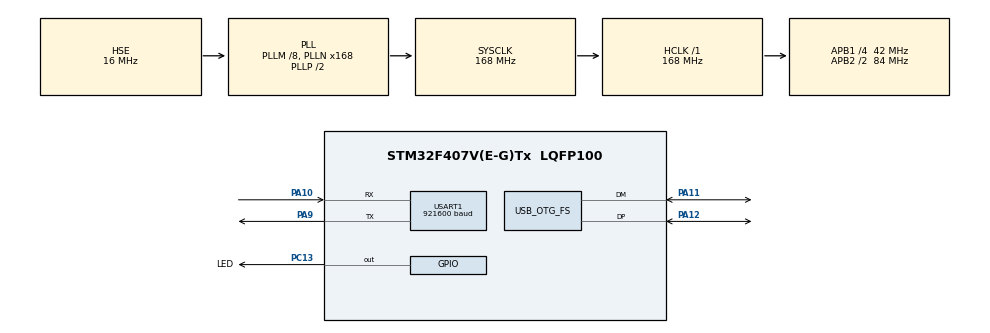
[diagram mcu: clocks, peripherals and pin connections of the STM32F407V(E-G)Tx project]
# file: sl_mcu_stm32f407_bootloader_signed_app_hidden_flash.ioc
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Mcu.Family=STM32F4
Mcu.Name=STM32F407V(E-G)Tx
Mcu.Package=LQFP100
NVIC.OTG_FS_IRQn=true\:0\:0\:false\:false\:true\:true\:true\:true
NVIC.PriorityGroup=NVIC_PRIORITYGROUP_4
PA10.Mode=Asynchronous
PA10.Signal=USART1_RX
PA11.Mode=Device_Only
PA11.Signal=USB_OTG_FS_DM
PA12.Mode=Device_Only
PA12.Signal=USB_OTG_FS_DP
PA13.Mode=Trace_Asynchronous_SW
PA13.Signal=SYS_JTMS-SWDIO
PA14.Mode=Trace_Asynchronous_SW
PA14.Signal=SYS_JTCK-SWCLK
PA9.Mode=Asynchronous
PA9.Signal=USART1_TX
PB3.Mode=Trace_Asynchronous_SW
PB3.Signal=SYS_JTDO-SWO
PC13-ANTI_TAMP.GPIO_Label=LED
PC13-ANTI_TAMP.GPIO_ModeDefaultOutputPP=GPIO_MODE_OUTPUT_OD
PC13-ANTI_TAMP.GPIO_PuPd=GPIO_NOPULL
PC13-ANTI_TAMP.PinState=GPIO_PIN_SET
PC13-ANTI_TAMP.Signal=GPIO_Output
PH0-OSC_IN.Mode=HSE-External-Oscillator
PH0-OSC_IN.Signal=RCC_OSC_IN
PH1-OSC_OUT.Mode=HSE-External-Oscillator
PH1-OSC_OUT.Signal=RCC_OSC_OUT
ProjectManager.HeapSize=0x200
ProjectManager.StackSize=0x400
ProjectManager.TargetToolchain=STM32CubeIDE
RCC.48MHZClocksFreq_Value=48000000
RCC.AHBFreq_Value=168000000
RCC.APB1CLKDivider=RCC_HCLK_DIV4
RCC.APB1Freq_Value=42000000
RCC.APB1TimFreq_Value=84000000
RCC.APB2CLKDivider=RCC_HCLK_DIV2
RCC.APB2Freq_Value=84000000
RCC.APB2TimFreq_Value=168000000
RCC.CortexFreq_Value=168000000
RCC.HCLKFreq_Value=168000000
RCC.HSE_VALUE=16000000
RCC.HSI_VALUE=16000000
RCC.LSE_VALUE=32768
RCC.PLLM=8
RCC.PLLN=168
RCC.PLLQ=7
RCC.SYSCLKFreq_VALUE=168000000
RCC.SYSCLKSource=RCC_SYSCLKSOURCE_PLLCLK
RCC.VCOOutputFreq_Value=336000000
USART1.BaudRate=921600
USART1.OverSampling=UART_OVERSAMPLING_8
USART1.VirtualMode=VM_ASYNC
USB_OTG_FS.VirtualMode=Device_Only
VP_MBEDTLS_VS_MBEDTLS.Mode=Enabled
board=custom

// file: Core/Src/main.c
/* USER CODE BEGIN Header */
/**
 ******************************************************************************
 * @file           : main.c
 * @brief          : Main program body
 ******************************************************************************
 * @attention
 *
 * Copyright (c) 2026 STM32World <lth@stm32world.com>
 * All rights reserved.
 *
 * This software is licensed under terms that can be found in the LICENSE file
 * in the root directory of this software component.
 * If no LICENSE file comes with this software, it is provided AS-IS.
 *
 ******************************************************************************
 */
/* USER CODE END Header */
#include "main.h"
#include "mbedtls.h"

/* USER CODE BEGIN Includes */
#include <stdio.h>
#include <string.h>
#include <stdbool.h>
#include "tusb.h"

#include "mbedtls/md.h"
#include "mbedtls/pk.h"
#include "mbedtls/bignum.h"
#include "mbedtls/asn1write.h"
/* USER CODE END Includes */

/* USER CODE BEGIN PTD */

typedef struct {
    uint32_t magic;          // 4 bytes: Magic identifier (e.g. 0x4150504B / "KAPP")
    uint32_t payload_len;    // 4 bytes: Size of binary firmware in bytes
    uint8_t signature[64];  // 64 bytes: ECDSA raw signature (32-byte R + 32-byte S)
    uint8_t reserved[56];   // 56 bytes: Zero padding to align header to 128 bytes
} Header128_t;

/* USER CODE END PTD */

/* USER CODE BEGIN PD */
#define DFU_BOOT_FLAG 0xDEADBEEF
#define FIRMWARE_MAGIC 0x4150504B
#define STAGING_ADDRESS 0x08080000              // Hidden flash, sectors 8-11
#define STAGING_SIZE (512 * 1024)
#define STAGING_SECTOR_SIZE (128 * 1024)
#define APP_MAX_SIZE (480 * 1024)               // Sectors 2-7
#define ERASE_TIMEOUT_MS 2000                   // Max 128 kB sector erase time (RM0090)
/* USER CODE END PD */

UART_HandleTypeDef huart1;

PCD_HandleTypeDef hpcd_USB_OTG_FS;

/* USER CODE BEGIN PV */

extern int _bflag;
volatile static uint32_t *dfu_boot_flag;

static uint32_t dfu_bytes_received = 0;
static uint32_t last_erased_sector = 0xFFFFFFFF;

static uint8_t do_boot = 0;

static const char *PUBLIC_KEY_PEM =
        "-----BEGIN PUBLIC KEY-----\n"
                "MFkwEwYHKoZIzj0CAQYIKoZIzj0DAQcDQgAE/TvaaBFk8lA2UK6vEFBSNEIluTsx\n"
                "vgLjSyEFtuQmGuPXHu4Qaa7d4DkQgQ1cXTG1jOtfXUym4S4ddeaSyJtTGg==\n"
                "-----END PUBLIC KEY-----\n";
/* USER CODE END PV */

void SystemClock_Config(void);
static void MX_GPIO_Init(void);
static void MX_USART1_UART_Init(void);
static void MX_USB_OTG_FS_PCD_Init(void);
/* USER CODE BEGIN PFP */
bool verify_flash_firmware_stream(uint32_t flash_payload_addr, size_t payload_len, const uint8_t *raw_sig);
/* USER CODE END PFP */

/* USER CODE BEGIN 0 */

// Send printf to uart1
int __io_putchar(int ch) {
    if (ch == '\n') {
        HAL_UART_Transmit(&huart1, (uint8_t*) "\r", 1, HAL_MAX_DELAY);
    }
    if (HAL_UART_Transmit(&huart1, (uint8_t*) &ch, 1, HAL_MAX_DELAY) != HAL_OK) {
        return -1;
    }
    return ch;
}

/**
 * @brief Convert raw 64-byte (32-byte R + 32-byte S) ECDSA signature to ASN.1 DER format
 */
static size_t raw_sig_to_der(const uint8_t *raw_sig, uint8_t *der_buf, size_t der_buf_size) {
    int ret = 0;
    unsigned char *p = der_buf + der_buf_size;
    size_t len = 0;

    mbedtls_mpi r, s;
    mbedtls_mpi_init(&r);
    mbedtls_mpi_init(&s);

    if (mbedtls_mpi_read_binary(&r, raw_sig, 32) == 0 &&
            mbedtls_mpi_read_binary(&s, raw_sig + 32, 32) == 0) {

        MBEDTLS_ASN1_CHK_ADD(len, mbedtls_asn1_write_mpi(&p, der_buf, &s));
        MBEDTLS_ASN1_CHK_ADD(len, mbedtls_asn1_write_mpi(&p, der_buf, &r));
        MBEDTLS_ASN1_CHK_ADD(len, mbedtls_asn1_write_len(&p, der_buf, len));
        MBEDTLS_ASN1_CHK_ADD(len, mbedtls_asn1_write_tag(&p, der_buf, MBEDTLS_ASN1_CONSTRUCTED | MBEDTLS_ASN1_SEQUENCE));

        memmove(der_buf, p, len);
    } else {
        ret = -1;
    }

    mbedtls_mpi_free(&r);
    mbedtls_mpi_free(&s);

    return (ret < 0) ? 0 : len;
}

/**
 * @brief Streams firmware payload from flash through SHA-256 and verifies ECDSA signature
 */
bool verify_flash_firmware_stream(uint32_t flash_payload_addr, size_t payload_len, const uint8_t *raw_sig) {
    uint8_t hash[32];
    uint8_t der_sig[80];

    size_t der_len = raw_sig_to_der(raw_sig, der_sig, sizeof(der_sig));
    if (der_len == 0) {
        printf("[VERIFY] Failed to format signature to ASN.1 DER\n");
        return false;
    }

    mbedtls_md_context_t md_ctx;
    mbedtls_pk_context pk_ctx;

    mbedtls_md_init(&md_ctx);
    mbedtls_pk_init(&pk_ctx);

    int ret = -1;

    do {
        const mbedtls_md_info_t *md_info = mbedtls_md_info_from_type(MBEDTLS_MD_SHA256);
        if ((ret = mbedtls_md_setup(&md_ctx, md_info, 0)) != 0)
            break;
        if ((ret = mbedtls_md_starts(&md_ctx)) != 0)
            break;

        // Staging area is memory mapped - hash it in place
        if ((ret = mbedtls_md_update(&md_ctx, (const uint8_t*) flash_payload_addr, payload_len)) != 0)
            break;

        if ((ret = mbedtls_md_finish(&md_ctx, hash)) != 0)
            break;

        ret = mbedtls_pk_parse_public_key(&pk_ctx, (const uint8_t*) PUBLIC_KEY_PEM, strlen(PUBLIC_KEY_PEM) + 1);
        if (ret != 0) {
            printf("[VERIFY] Public key parse failed: -0x%04X\n", -ret);
            break;
        }

        ret = mbedtls_pk_verify(&pk_ctx, MBEDTLS_MD_SHA256, hash, sizeof(hash), der_sig, der_len);
    } while (0);

    mbedtls_md_free(&md_ctx);
    mbedtls_pk_free(&pk_ctx);

    if (ret == 0) {
        return true;
    } else {
        printf("[VERIFY] Verification failed! Error code: -0x%04X\n", -ret);
        return false;
    }
}

//--------------------------------------------------------------------+
// DFU Callbacks
//--------------------------------------------------------------------+

/**
 * @brief Erase one 128 kB staging sector (8-11). Stalls the CPU for 1-2 s.
 */
static bool erase_staging_sector(uint32_t sector) {
    FLASH_EraseInitTypeDef EraseInitStruct;
    uint32_t SectorError = 0;

    EraseInitStruct.TypeErase = FLASH_TYPEERASE_SECTORS;
    EraseInitStruct.VoltageRange = FLASH_VOLTAGE_RANGE_3;
    EraseInitStruct.Sector = sector;
    EraseInitStruct.NbSectors = 1;

    return HAL_FLASHEx_Erase(&EraseInitStruct, &SectorError) == HAL_OK;
}

void tud_dfu_download_cb(uint8_t alt, uint16_t block_num, uint8_t const *data, uint16_t length) {
    (void) alt;

    uint32_t offset = block_num * CFG_TUD_DFU_XFER_BUFSIZE;

    if (block_num == 0) {
        dfu_bytes_received = 0;
        last_erased_sector = 0xFFFFFFFF;
        printf("\n[DFU] Download started...\n");
    }

    if (length == 0) {
        tud_dfu_finish_flashing(DFU_STATUS_OK);
        return;
    }

    if (offset + length > STAGING_SIZE) {
        printf("[DFU] Image too big for staging area!\n");
        tud_dfu_finish_flashing(DFU_STATUS_ERR_ADDRESS);
        return;
    }

    HAL_FLASH_Unlock();

    // Erase the staging sector when the write first enters it
    uint32_t sector = FLASH_SECTOR_8 + offset / STAGING_SECTOR_SIZE;
    if (sector != last_erased_sector) {
        printf("[DFU] Erasing sector %lu...\n", sector);
        if (!erase_staging_sector(sector)) {
            HAL_FLASH_Lock();
            tud_dfu_finish_flashing(DFU_STATUS_ERR_ERASE);
            return;
        }
        last_erased_sector = sector;
    }

    // Program word by word, padding a trailing partial word with 0xFF
    uint32_t addr = STAGING_ADDRESS + offset;
    for (uint32_t i = 0; i < length; i += 4) {
        uint32_t word = 0xFFFFFFFF;
        memcpy(&word, data + i, (length - i < 4) ? (length - i) : 4);
        if (HAL_FLASH_Program(FLASH_TYPEPROGRAM_WORD, addr + i, word) != HAL_OK) {
            printf("[DFU] Programming failed at 0x%08lX!\n", addr + i);
            HAL_FLASH_Lock();
            tud_dfu_finish_flashing(DFU_STATUS_ERR_PROG);
            return;
        }
    }

    HAL_FLASH_Lock();

    dfu_bytes_received += length;
    printf("[DFU] Block %u written (%u bytes) at 0x%08lX\n", block_num, length, addr);

    tud_dfu_finish_flashing(DFU_STATUS_OK);
}

void tud_dfu_get_status_cb(uint8_t alt, uint8_t *status) {
    (void) alt;
    status[0] = DFU_STATUS_OK;
    status[1] = 0;
    status[2] = 0;
    status[3] = 0;
    status[4] = DFU_DNLOAD_IDLE;
    status[5] = 0;
}

uint32_t tud_dfu_get_timeout_cb(uint8_t alt, uint8_t state) {
    (void) alt;
    if (state == DFU_DNBUSY) {
        // Next block starts a new staging sector - give the host time for the erase
        return (dfu_bytes_received % STAGING_SECTOR_SIZE == 0) ? ERASE_TIMEOUT_MS : 10;
    }
    return 0;
}

void tud_dfu_manifest_cb(uint8_t alt) {
    (void) alt;
    printf("[DFU] Download complete! Total received: %lu bytes.\n", dfu_bytes_received);

    const Header128_t *header = (const Header128_t*) STAGING_ADDRESS;

    char magic_str[5] = { 0 };
    memcpy(magic_str, &header->magic, 4);

    printf("\n================ Header Info ================\n");
    printf("Magic Raw          : 0x%08lX\n", header->magic);
    printf("Magic ASCII        : %s\n", magic_str);
    printf("Payload Size       : %lu bytes\n", header->payload_len);

    printf("Signature (R)      : ");
    for (int i = 0; i < 32; i++) {
        printf("%02X", header->signature[i]);
    }
    printf("\n");

    printf("Signature (S)      : ");
    for (int i = 0; i < 32; i++) {
        printf("%02X", header->signature[32 + i]);
    }
    printf("\n");
    printf("=============================================\n");

    if (header->magic != FIRMWARE_MAGIC) {
        printf("[DFU] ERROR: Invalid Header Magic Identifier!\n\n");
        tud_dfu_finish_flashing(DFU_STATUS_ERR_FILE);
        return;
    }

    if (header->payload_len == 0 || header->payload_len > APP_MAX_SIZE
            || sizeof(Header128_t) + header->payload_len > dfu_bytes_received) {
        printf("[DFU] ERROR: Invalid payload length!\n\n");
        tud_dfu_finish_flashing(DFU_STATUS_ERR_FILE);
        return;
    }

    printf("[DFU] Verifying ECDSA SECP256R1 signature...\n");
    if (verify_flash_firmware_stream(STAGING_ADDRESS + sizeof(Header128_t), header->payload_len, header->signature)) {
        printf("[DFU] SUCCESS: Firmware signature VALID!\n\n");
        tud_dfu_finish_flashing(DFU_STATUS_OK);

        // Reboot into bootloader
        do_boot = 1;

    } else {
        printf("[DFU] ERROR: Firmware signature INVALID!\n\n");
        tud_dfu_finish_flashing(DFU_STATUS_ERR_VERIFY);
    }
}

void tud_dfu_runtime_reboot_to_dfu_cb(void) {

}

/* USER CODE END 0 */

int main(void)
{

    /* USER CODE BEGIN 1 */
    dfu_boot_flag = (uint32_t*) (&_bflag); // set in linker script
    /* USER CODE END 1 */

    /* MCU Configuration--------------------------------------------------------*/

    /* Reset of all peripherals, Initializes the Flash interface and the Systick. */
    HAL_Init();

    /* Configure the system clock */
    SystemClock_Config();

    /* Initialize all configured peripherals */
    MX_GPIO_Init();
    MX_USART1_UART_Init();
    MX_USB_OTG_FS_PCD_Init();
    MX_MBEDTLS_Init();
    /* USER CODE BEGIN 2 */

    printf("\n\n\n\n--------\nApplication test\n");

    tusb_init();

    /* USER CODE END 2 */

    /* Infinite loop */
    /* USER CODE BEGIN WHILE */

    register uint32_t now = 0, loop_cnt = 0, next_blink = 500, next_tick = 1000;

    while (1) {

        now = uwTick;

        if (do_boot) {
            // Wait a bit until the dfu usb is finished
            uint32_t wait_end = uwTick + 1500;
            while (uwTick <= wait_end) {
                tud_task();
            }

            // Boot into the bootloader
            *dfu_boot_flag = DFU_BOOT_FLAG;
            HAL_NVIC_SystemReset();
        }

        if (now >= next_blink) {
            HAL_GPIO_TogglePin(LED_GPIO_Port, LED_Pin);
            next_blink += 500;
        }

        if (now >= next_tick) {

            printf("Tick %lu (loop = %lu)\n", now / 1000, loop_cnt);

            loop_cnt = 0;
            next_tick = now + 1000;
        }

        tud_task();

        ++loop_cnt;

        /* USER CODE END WHILE */

    }
}

void SystemClock_Config(void)
{
    RCC_OscInitTypeDef RCC_OscInitStruct = { 0 };
    RCC_ClkInitTypeDef RCC_ClkInitStruct = { 0 };

    /** Configure the main internal regulator output voltage
     */
    __HAL_RCC_PWR_CLK_ENABLE();
    __HAL_PWR_VOLTAGESCALING_CONFIG(PWR_REGULATOR_VOLTAGE_SCALE1);

    /** Initializes the RCC Oscillators according to the specified parameters
     * in the RCC_OscInitTypeDef structure.
     */
    RCC_OscInitStruct.OscillatorType = RCC_OSCILLATORTYPE_HSE;
    RCC_OscInitStruct.HSEState = RCC_HSE_ON;
    RCC_OscInitStruct.PLL.PLLState = RCC_PLL_ON;
    RCC_OscInitStruct.PLL.PLLSource = RCC_PLLSOURCE_HSE;
    RCC_OscInitStruct.PLL.PLLM = 8;
    RCC_OscInitStruct.PLL.PLLN = 168;
    RCC_OscInitStruct.PLL.PLLP = RCC_PLLP_DIV2;
    RCC_OscInitStruct.PLL.PLLQ = 7;
    if (HAL_RCC_OscConfig(&RCC_OscInitStruct) != HAL_OK)
            {
        Error_Handler();
    }

    /** Initializes the CPU, AHB and APB buses clocks
     */
    RCC_ClkInitStruct.ClockType = RCC_CLOCKTYPE_HCLK | RCC_CLOCKTYPE_SYSCLK
            | RCC_CLOCKTYPE_PCLK1 | RCC_CLOCKTYPE_PCLK2;
    RCC_ClkInitStruct.SYSCLKSource = RCC_SYSCLKSOURCE_PLLCLK;
    RCC_ClkInitStruct.AHBCLKDivider = RCC_SYSCLK_DIV1;
    RCC_ClkInitStruct.APB1CLKDivider = RCC_HCLK_DIV4;
    RCC_ClkInitStruct.APB2CLKDivider = RCC_HCLK_DIV2;

    if (HAL_RCC_ClockConfig(&RCC_ClkInitStruct, FLASH_LATENCY_5) != HAL_OK)
            {
        Error_Handler();
    }
}

static void MX_USART1_UART_Init(void)
{

    huart1.Instance = USART1;
    huart1.Init.BaudRate = 921600;
    huart1.Init.WordLength = UART_WORDLENGTH_8B;
    huart1.Init.StopBits = UART_STOPBITS_1;
    huart1.Init.Parity = UART_PARITY_NONE;
    huart1.Init.Mode = UART_MODE_TX_RX;
    huart1.Init.HwFlowCtl = UART_HWCONTROL_NONE;
    huart1.Init.OverSampling = UART_OVERSAMPLING_8;
    if (HAL_UART_Init(&huart1) != HAL_OK)
            {
        Error_Handler();
    }

}

static void MX_USB_OTG_FS_PCD_Init(void)
{

    hpcd_USB_OTG_FS.Instance = USB_OTG_FS;
    hpcd_USB_OTG_FS.Init.dev_endpoints = 4;
    hpcd_USB_OTG_FS.Init.speed = PCD_SPEED_FULL;
    hpcd_USB_OTG_FS.Init.dma_enable = DISABLE;
    hpcd_USB_OTG_FS.Init.phy_itface = PCD_PHY_EMBEDDED;
    hpcd_USB_OTG_FS.Init.Sof_enable = DISABLE;
    hpcd_USB_OTG_FS.Init.low_power_enable = DISABLE;
    hpcd_USB_OTG_FS.Init.lpm_enable = DISABLE;
    hpcd_USB_OTG_FS.Init.vbus_sensing_enable = DISABLE;
    hpcd_USB_OTG_FS.Init.use_dedicated_ep1 = DISABLE;
    if (HAL_PCD_Init(&hpcd_USB_OTG_FS) != HAL_OK)
            {
        Error_Handler();
    }

}

static void MX_GPIO_Init(void)
{
    GPIO_InitTypeDef GPIO_InitStruct = { 0 };

    /* GPIO Ports Clock Enable */
    __HAL_RCC_GPIOC_CLK_ENABLE();
    __HAL_RCC_GPIOH_CLK_ENABLE();
    __HAL_RCC_GPIOA_CLK_ENABLE();
    __HAL_RCC_GPIOB_CLK_ENABLE();

    /*Configure GPIO pin Output Level */
    HAL_GPIO_WritePin(LED_GPIO_Port, LED_Pin, GPIO_PIN_SET);

    /*Configure GPIO pin : LED_Pin */
    GPIO_InitStruct.Pin = LED_Pin;
    GPIO_InitStruct.Mode = GPIO_MODE_OUTPUT_OD;
    GPIO_InitStruct.Pull = GPIO_NOPULL;
    GPIO_InitStruct.Speed = GPIO_SPEED_FREQ_LOW;
    HAL_GPIO_Init(LED_GPIO_Port, &GPIO_InitStruct);

}

void Error_Handler(void)
{
    __disable_irq();
    while (1)
    {
    }
}
